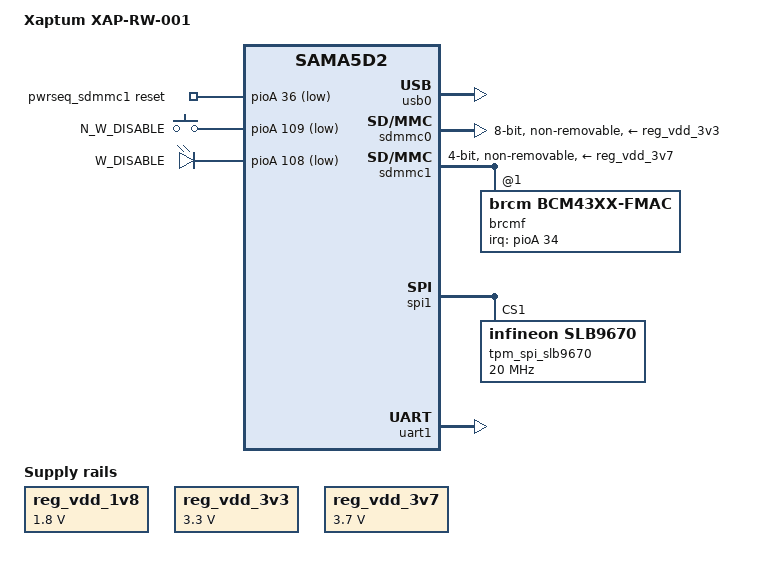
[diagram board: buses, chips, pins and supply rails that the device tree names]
/*
 * Device Tree file for Xaptum xap-rw-001
 *
 * Copyright 2018 - Xaptum, Inc.
 */

/dts-v1/;

#include "sama5d2.dtsi"
#include "sama5d2-pinfunc.h"
#include <dt-bindings/mfd/atmel-flexcom.h>
#include <dt-bindings/gpio/gpio.h>
#include <dt-bindings/pinctrl/at91.h>

/ {
	model = "Xaptum XAP-RW-001";
	compatible = "xaptum,xaprw001", "xaptum,xaprc001", "atmel,sama5d2", "atmel,sama5";

	chosen {
		stdout-path = "serial0:115200n8";
	};

	clocks {
		slow_xtal {
			clock-frequency = <32768>;
		};

		main_xtal {
			clock-frequency = <12000000>;
		};
	};

	reg_vdd_1v8: reg_vdd_1v8 {
		compatible = "regulator-fixed";
		regulator-name = "vdd_1v8";
		regulator-min-microvolt = <1800000>;
		regulator-max-microvolt = <1800000>;
		regulator-always-on;
		status = "okay";
	};

	reg_vdd_3v3: reg_vdd_3v3 {
		compatible = "regulator-fixed";
		regulator-name = "vdd_3v3";
		regulator-min-microvolt = <3300000>;
		regulator-max-microvolt = <3300000>;
		regulator-always-on;
		status = "okay";
	};

	reg_vdd_3v7: reg_vdd_3v7 {
		compatible = "regulator-fixed";
		regulator-name = "vdd_3v7";
		regulator-min-microvolt = <3700000>;
		regulator-max-microvolt = <3700000>;
		regulator-always-on;
		status = "okay";
	};

	pwrseq_sdmmc1: pwrseq_sdmmc1 {
		compatible = "mmc-pwrseq-simple";
		reset-gpios = <&pioA 36 GPIO_ACTIVE_LOW>;
	};

	ahb {

		usb0: gadget@300000 {
			status = "okay";
		};

		usb1: ohci@400000 {
			num-ports = <3>;
			status = "disabled";
		};

		usb2: ehci@500000 {
			status = "disabled";
		};

		sdmmc0: sdio-host@a0000000 {
			bus-width = <8>;
			pinctrl-names = "default";
			pinctrl-0 = <&pinctrl_sdmmc0_default>;
			vmmc-supply = <&reg_vdd_3v3>;
			vqmmc-supply = <&reg_vdd_1v8>;
			non-removable;
			mmc-ddr-1_8v;
			disable-wp;
			status = "okay";
		};

		sdmmc1: sdio-host@b0000000 {
			bus-width = <4>;
			pinctrl-names = "default";
			pinctrl-0 = <&pinctrl_sdmmc1_default>;
			vmmc-supply = <&reg_vdd_3v7>;
			vqmmc-supply = <&reg_vdd_1v8>;
			mmc-pwrseq = <&pwrseq_sdmmc1>;
			non-removable;
			disable-wp;
			keep-power-in-suspend;
			pm-ignore-notify;
			status = "okay";

			brcmf: brcmf@1 {
				reg = <1>;
				compatible = "brcm,bcm43xx-fmac";
				interrupt-parent = <&pioA>;
				interrupts = <34 0>;
				interrupt-names = "host-wake";
			};
		};

		apb {
			pmc: pmc@f0014000 {
				pmc_fast_restart {
					compatible = "atmel,sama5d2-pmc-fast-startup";
					#address-cells = <1>;
					#size-cells = <0>;

					atmel,wakeup-rtc-timer;

					wkpin: input@0 {
						reg = <0>;
					};
				};
			};

			spi1: spi@fc000000 {
				pinctrl-names = "default";
				pinctrl-0 = <&pinctrl_spi1_default>;
				status = "okay";

				tpm_spi_slb9670@1{
					compatible = "infineon,slb9670";
					reg = <1>;	/* CS1 */
					pinctrl-names = "default";
					pinctrl-0 = <&pinctrl_tpm_default>;
					spi-max-frequency = <20000000>;
				};
			};

			uart1: serial@f8020000 {
				pinctrl-names = "default";
				pinctrl-0 = <&pinctrl_uart1_default>;
				atmel,use-dma-rx;
				atmel,use-dma-tx;
				status = "okay";
			};

			pwm0: pwm@f802c000 {
				status = "disabled";
			};

			shdwc@f8048010 {
				atmel,shdwc-debouncer = <976>;
				atmel,wakeup-rtc-timer;

				input@0 {
					reg = <0>;
					atmel,wakeup-type = "low";
				};
			};

			watchdog@f8048040 {
				status = "okay";
			};

			pinctrl@fc038000 {
				pinctrl_key_gpio_default: key_gpio_default {
					pinmux = <PIN_PD13__GPIO>;
					bias-pull-up;
				};

				pinctrl_led_gpio_default: led_gpio_default {
					pinmux = <PIN_PD12__GPIO>;
					bias-pull-up;
				};

				pinctrl_sdmmc0_default: sdmmc0_default {
					cmd_data {
						pinmux = <PIN_PA1__SDMMC0_CMD>,
							 <PIN_PA2__SDMMC0_DAT0>,
							 <PIN_PA3__SDMMC0_DAT1>,
							 <PIN_PA4__SDMMC0_DAT2>,
							 <PIN_PA5__SDMMC0_DAT3>,
							 <PIN_PA6__SDMMC0_DAT4>,
							 <PIN_PA7__SDMMC0_DAT5>,
							 <PIN_PA8__SDMMC0_DAT6>,
							 <PIN_PA9__SDMMC0_DAT7>,
							 <PIN_PA0__SDMMC0_CK>,
							 <PIN_PA10__SDMMC0_RSTN>;
						bias-disable;
					};
				};

				pinctrl_sdmmc1_default: sdmmc1_default {
					sdio {
						pinmux = <PIN_PA28__SDMMC1_CMD>,
							 <PIN_PA18__SDMMC1_DAT0>,
							 <PIN_PA19__SDMMC1_DAT1>,
							 <PIN_PA20__SDMMC1_DAT2>,
							 <PIN_PA21__SDMMC1_DAT3>,
							 <PIN_PA22__SDMMC1_CK>;
						bias-disable;
					};

					cyw4339_wake {
						pinmux = <PIN_PB2__GPIO>,
							 <PIN_PB6__GPIO>,
							 <PIN_PB7__GPIO>;
						bias-disable;
					};

					cyw4339_osc {
						pinmux = <PIN_PB13__PCK1>;
						bias-disable;
					};

					cyw4339_bt_on {
						pinmux = <PIN_PB5__GPIO>;
						bias-pull-down;
					};

				};

				pinctrl_spi1_default: spi1_default {
					pinmux = <PIN_PD25__SPI1_SPCK>,
						 <PIN_PD26__SPI1_MOSI>,
						 <PIN_PD27__SPI1_MISO>,
						 <PIN_PD28__SPI1_NPCS0>,
						 <PIN_PD29__SPI1_NPCS1>;
					bias-disable;
				};

				pinctrl_uart1_default: uart1_default {
					pinmux = <PIN_PD2__URXD1>,
						 <PIN_PD3__UTXD1>;
					bias-disable;
				};

				pinctrl_tpm_default: tmp_default {
					pinmux = <PIN_PD21__GPIO>,
						 <PIN_PD22__GPIO>,
						 <PIN_PD23__GPIO>;
					bias-disable;
				};
			};
		};
	};

	gpio_keys {
		compatible = "gpio-keys";

		pinctrl-names = "default";
		pinctrl-0 = <&pinctrl_key_gpio_default>;

		bp1 {
			label = "N_W_DISABLE";
			gpios = <&pioA 109 GPIO_ACTIVE_LOW>;
			linux,code = <0x104>;
			wakeup-source;
		};
	};

	leds {
		compatible = "gpio-leds";
		pinctrl-names = "default";
		pinctrl-0 = <&pinctrl_led_gpio_default>;
		status = "okay";

		w_disable {
			label = "W_DISABLE";
			gpios = <&pioA 108 GPIO_ACTIVE_LOW>;
			linux,default-trigger = "heartbeat";
		};
	};
};
